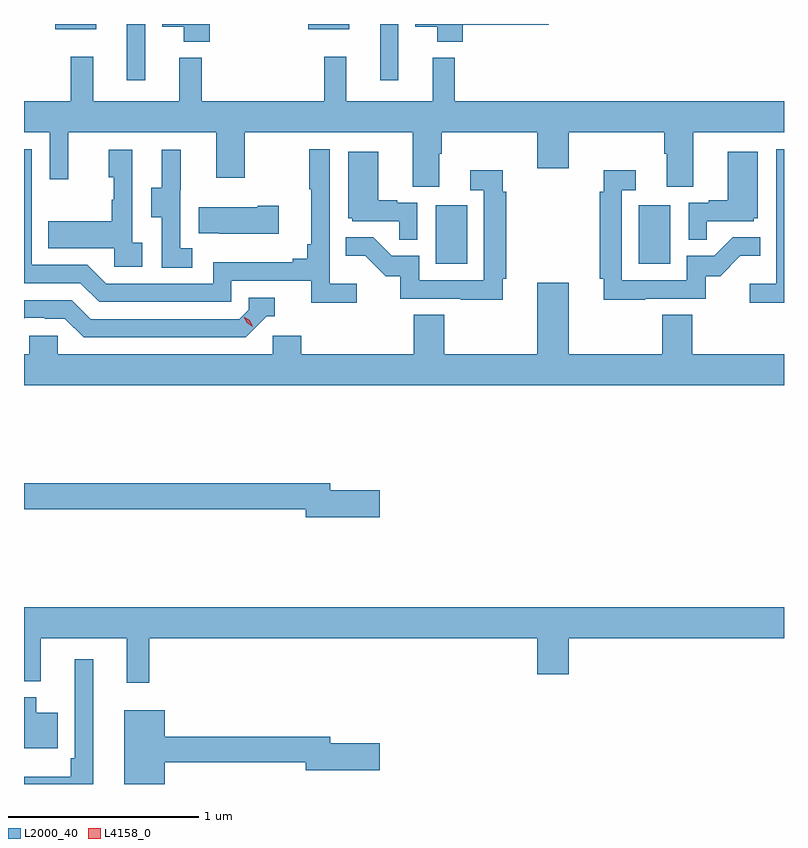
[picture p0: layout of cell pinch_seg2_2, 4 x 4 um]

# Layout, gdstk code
import gdstk
lib = gdstk.Library(unit=1e-6, precision=1e-09)
def R(c, l, rs):  # rectangles x0, y0, x1, y1
    for r in rs: c.add(gdstk.rectangle(r[:2], r[2:], *l))
def P(c, l, *ps):  # polygons
    for p in ps: c.add(gdstk.Polygon(p, *l))
L2000_40 = (2000, 40)
L4158_0 = (4158, 0)

pinch_seg2_2 = lib.new_cell('pinch_seg2_2')
R(pinch_seg2_2, L2000_40, [(1123.514,664.26,1123.678,664.567), (1124.582,664.26,1124.746,664.567), (1121.888,665.226,1121.985,665.522), (1123.22,665.226,1123.317,665.522), (1121.51,665.495,1121.725,665.522), (1122.842,665.495,1123.057,665.522)])
P(pinch_seg2_2, L2000_40, [(1122.323,665.522),(1122.074,665.522),(1122.074,665.507),(1122.188,665.507),(1122.188,665.429),(1122.323,665.429)],
  [(1123.655,665.518),(1124.107,665.518),(1124.107,665.522),(1123.406,665.522),(1123.406,665.507),(1123.52,665.507),(1123.52,665.429),(1123.655,665.429)],
  [(1123.531,664.84),(1123.544,664.84),(1123.544,664.952),(1124.048,664.952),(1124.048,664.764),(1124.212,664.764),(1124.212,664.952),(1124.717,664.952),(1124.717,664.84),(1124.729,664.84),(1124.729,664.666),(1124.869,664.666),(1124.869,664.952),(1125.346,664.952),(1125.346,665.116),(1123.613,665.116),(1123.613,665.344),(1123.496,665.344),(1123.496,665.116),(1123.043,665.116),(1123.043,665.35),(1122.925,665.35),(1122.925,665.116),(1122.281,665.116),(1122.281,665.344),(1122.164,665.344),(1122.164,665.116),(1121.711,665.116),(1121.711,665.35),(1121.593,665.35),(1121.593,665.116),(1121.346,665.116),(1121.346,664.952),(1121.481,664.952),(1121.481,664.704),(1121.579,664.704),(1121.579,664.952),(1122.359,664.952),(1122.359,664.713),(1122.507,664.713),(1122.507,664.952),(1123.391,664.952),(1123.391,664.666),(1123.531,664.666)],
  [(1123.096,664.156),(1122.954,664.156),(1122.954,664.864),(1122.846,664.864),(1122.846,664.651),(1122.857,664.651),(1122.857,664.363),(1122.838,664.363),(1122.838,664.286),(1122.761,664.286),(1122.761,664.267),(1122.342,664.267),(1122.342,664.155),(1121.778,664.155),(1121.679,664.254),(1121.388,664.254),(1121.388,664.863),(1121.346,664.863),(1121.346,664.158),(1121.642,664.158),(1121.741,664.059),(1122.438,664.059),(1122.438,664.17),(1122.857,664.17),(1122.857,664.054),(1123.096,664.054)],
  [(1125.346,664.864),(1125.306,664.864),(1125.306,664.156),(1125.165,664.156),(1125.165,664.054),(1125.346,664.054)],
  [(1121.968,664.37),(1121.916,664.37),(1121.916,664.861),(1121.792,664.861),(1121.792,664.716),(1121.818,664.716),(1121.818,664.598),(1121.808,664.598),(1121.808,664.483),(1121.473,664.483),(1121.473,664.343),(1121.82,664.343),(1121.82,664.245),(1121.968,664.245)],
  [(1122.232,664.343),(1122.168,664.343),(1122.168,664.647),(1122.17,664.647),(1122.17,664.861),(1122.071,664.861),(1122.071,664.659),(1122.017,664.659),(1122.017,664.504),(1122.072,664.504),(1122.072,664.24),(1122.232,664.24)],
  [(1124.939,664.485),(1125.186,664.485),(1125.186,664.5),(1125.208,664.5),(1125.208,664.849),(1125.05,664.849),(1125.05,664.594),(1124.951,664.594),(1124.951,664.581),(1124.844,664.581),(1124.844,664.387),(1124.939,664.387)],
  [(1123.416,664.581),(1123.31,664.581),(1123.31,664.594),(1123.21,664.594),(1123.21,664.849),(1123.052,664.849),(1123.052,664.5),(1123.074,664.5),(1123.074,664.485),(1123.321,664.485),(1123.321,664.387),(1123.416,664.387)],
  [(1124.615,664.077),(1124.934,664.077),(1124.934,664.194),(1125.01,664.194),(1125.117,664.301),(1125.221,664.301),(1125.221,664.4),(1125.077,664.4),(1124.979,664.302),(1124.835,664.302),(1124.835,664.173),(1124.493,664.173),(1124.493,664.647),(1124.566,664.647),(1124.566,664.753),(1124.396,664.753),(1124.396,664.64),(1124.377,664.64),(1124.377,664.18),(1124.396,664.18),(1124.396,664.072),(1124.615,664.072)],
  [(1123.865,664.18),(1123.883,664.18),(1123.883,664.64),(1123.865,664.64),(1123.865,664.753),(1123.695,664.753),(1123.695,664.647),(1123.767,664.647),(1123.767,664.173),(1123.425,664.173),(1123.425,664.302),(1123.281,664.302),(1123.183,664.4),(1123.039,664.4),(1123.039,664.301),(1123.143,664.301),(1123.25,664.194),(1123.327,664.194),(1123.327,664.077),(1123.645,664.077),(1123.645,664.072),(1123.865,664.072)],
  [(1122.688,664.566),(1122.575,664.566),(1122.575,664.558),(1122.265,664.558),(1122.265,664.421),(1122.373,664.421),(1122.373,664.418),(1122.688,664.418)],
  [(1125.346,663.784),(1124.864,663.784),(1124.864,663.992),(1124.704,663.992),(1124.704,663.784),(1124.212,663.784),(1124.212,664.159),(1124.048,664.159),(1124.048,663.784),(1123.557,663.784),(1123.557,663.992),(1123.397,663.992),(1123.397,663.784),(1122.806,663.784),(1122.806,663.882),(1122.654,663.882),(1122.654,663.784),(1121.523,663.784),(1121.523,663.882),(1121.373,663.882),(1121.373,663.784),(1121.346,663.784),(1121.346,663.62),(1125.346,663.62)],
  [(1122.624,663.984),(1122.667,663.984),(1122.667,664.08),(1122.528,664.08),(1122.528,664.017),(1122.48,663.969),(1121.697,663.969),(1121.598,664.068),(1121.346,664.068),(1121.346,663.97),(1121.351,663.975),(1121.454,663.975),(1121.454,663.972),(1121.561,663.972),(1121.66,663.873),(1122.513,663.873)],
  [(1123.219,663.068),(1122.958,663.068),(1122.958,663.104),(1121.346,663.104),(1121.346,662.968),(1122.83,662.968),(1122.83,662.926),(1123.219,662.926)],
  [(1122.005,662.288),(1124.048,662.288),(1124.048,662.1),(1124.212,662.1),(1124.212,662.288),(1125.346,662.288),(1125.346,662.452),(1121.346,662.452),(1121.346,662.063),(1121.435,662.063),(1121.435,662.288),(1121.888,662.288),(1121.888,662.055),(1122.005,662.055)],
  [(1121.71,662.179),(1121.613,662.179),(1121.613,661.657),(1121.593,661.657),(1121.593,661.561),(1121.346,661.561),(1121.346,661.522),(1121.71,661.522)],
  [(1121.524,661.897),(1121.41,661.897),(1121.41,661.978),(1121.346,661.978),(1121.346,661.709),(1121.524,661.709)],
  [(1122.088,661.636),(1122.83,661.636),(1122.83,661.594),(1123.219,661.594),(1123.219,661.736),(1122.958,661.736),(1122.958,661.772),(1122.088,661.772),(1122.088,661.909),(1121.873,661.909),(1121.873,661.522),(1122.088,661.522)])
P(pinch_seg2_2, L4158_0, [(1122.549,663.929),(1122.518,663.949),(1122.503,663.982),(1122.503,663.982),(1122.503,663.982),(1122.534,663.962),(1122.549,663.929),(1122.549,663.929)])

lib.write_gds('pinch_seg2_2.gds')
